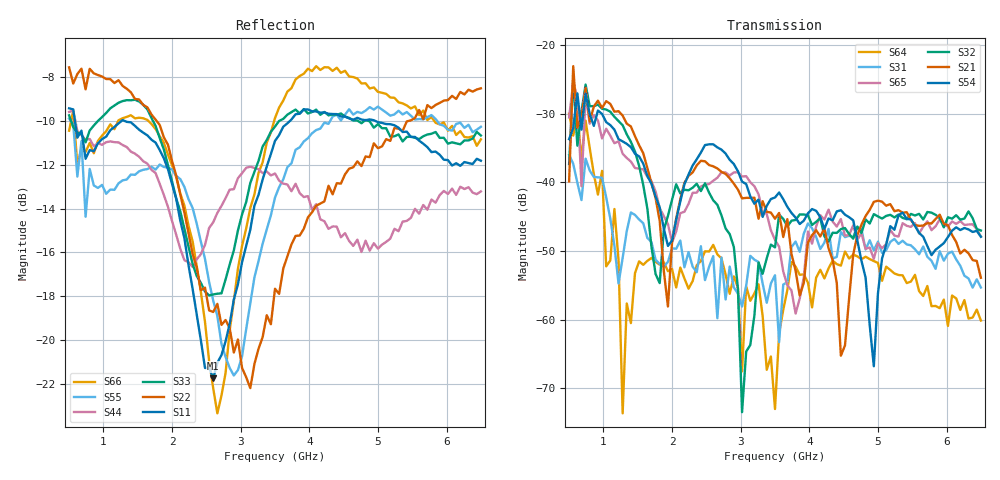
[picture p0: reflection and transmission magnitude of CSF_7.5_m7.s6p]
!Keysight Technologies,M9804A,MY58100912,A.14.10.03
!Date: Thursday, April 27, 2023 10:28:33
!Correction: S11(C  6-Port  )
!S12(C  6-Port  )
!S13(C  6-Port  )
!S14(C  6-Port  )
!S15(C  6-Port  )
!S16(C  6-Port  )
!S21(C  6-Port  )
!S22(C  6-Port  )
!S23(C  6-Port  )
!S24(C  6-Port  )
!S25(C  6-Port  )
!S26(C  6-Port  )
!S31(C  6-Port  )
!S32(C  6-Port  )
!S33(C  6-Port  )
!S34(C  6-Port  )
!S35(C  6-Port  )
!S36(C  6-Port  )
!S41(C  6-Port  )
!S42(C  6-Port  )
!S43(C  6-Port  )
!S44(C  6-Port  )
!S45(C  6-Port  )
!S46(C  6-Port  )
!S51(C  6-Port  )
!S52(C  6-Port  )
!S53(C  6-Port  )
!S54(C  6-Port  )
!S55(C  6-Port  )
!S56(C  6-Port  )
!S61(C  6-Port  )
!S62(C  6-Port  )
!S63(C  6-Port  )
!S64(C  6-Port  )
!S65(C  6-Port  )
!S66(C  6-Port  )
!S6P File: Measurement: :
# Hz S  RI  R 50
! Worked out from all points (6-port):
!   101 points, 500 MHz to 6.5 GHz, reference 50 ohm
!   strongest paths, dB at 500 MHz, 2 GHz, 3.5 GHz, 5 GHz, 6.5 GHz:
!     S54: -33.7, -48.5, -42.2, -56.1, -47.9
!     S21: -39.8, -48.6, -45.3, -42.6, -53.9
!     S32: -37.3, -42.5, -49.5, -44.9, -47.0
!     S65: -30.5, -48.7, -48.4, -48.8, -47.8
!     S31: -36.0, -49.6, -53.5, -48.6, -55.3
!     S64: -30.0, -52.6, -73.0, -51.7, -60.1
!   lowest |S11| = -21.7 dB at 2.6 GHz (marker M1), VSWR 1.18, Z = 42.7 + j1.97 ohm
!   |S11| at or under -10 dB: 584 MHz to 1.268 GHz (684 MHz wide, 73.9 % of centre); 1.302 GHz to 3.721 GHz (2.418 GHz wide, 96.3 % of centre); 4.956 GHz to end of sweep
